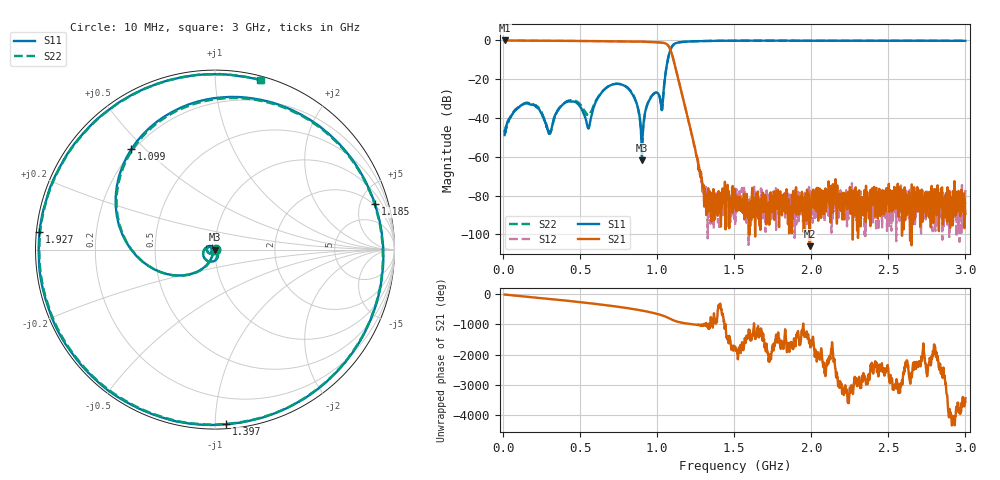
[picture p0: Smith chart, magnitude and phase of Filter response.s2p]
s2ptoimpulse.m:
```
%% ================================================================
% s2p から:
%   (1) スライドの式: S -> ABCD -> (V2/V1, V2/Vs)
%   (2) MATLAB s2tf (option 1/2)
% を重ねて「同一か？」を確認し、
% さらに 0Hz までローパス整合に埋めて実インパルス応答を作る
%
% 重要:
%  - subplot は使わない (figure を分ける)
%  - 周波数応答で「補正(=0〜f_startを生成)した箇所」を色分け
%% ================================================================

clear; close all; clc;

%% ---- User settings ----
s2pFile = "Filter response.s2p";

% Source / load impedances you want for voltage-transfer definitions
Zs = 50;     % [ohm]
Zl = 50;     % [ohm]

% Low-frequency fill model settings
Kfit      = 25;   % use first K points to estimate delay + DC trend
polyOrder = 1;    % fit log|H_de| vs f^2 near DC

% Uniform grid / IFFT settings
padFactor    = 8;         % >=1
interpMethod = "linear";  % "linear" is safest for complex data

%% ---- Load s2p ----
sp = sparameters(s2pFile);
f_meas = sp.Frequencies(:);   % [Hz]
if any(diff(f_meas) <= 0)
    error("Frequency vector must be strictly increasing.");
end

S = sp.Parameters;            % 2x2xN complex
S11 = squeeze(S(1,1,:));
S12 = squeeze(S(1,2,:));
S21 = squeeze(S(2,1,:));
S22 = squeeze(S(2,2,:));

% Reference impedance of the S-parameters (Touchstone Z0)
Z0ref = sp.Impedance;
if isscalar(Z0ref)
    Z0 = Z0ref * ones(size(f_meas));
else
    % If Z0 is frequency-dependent (rare in s2p), make it a column vector
    Z0 = Z0ref(:);
    if numel(Z0) ~= numel(f_meas)
        error("Unsupported sp.Impedance size. Expect scalar or length(f_meas).");
    end
end

f_start = f_meas(1);
fmax    = f_meas(end);

%% ================================================================
% (A) Slide formula: S -> ABCD (manual) -> voltage transfer
%     ABCD formula used (standard, same as your slide):
%     A = ((1+S11)(1-S22)+S12S21)/(2S21)
%     B = Z0((1+S11)(1+S22)-S12S21)/(2S21)
%     C = (1/Z0)((1-S11)(1-S22)-S12S21)/(2S21)
%     D = ((1-S11)(1+S22)+S12S21)/(2S21)
%% ================================================================

A = ((1+S11).*(1-S22) + (S12.*S21)) ./ (2.*S21);
B = (Z0) .* (((1+S11).*(1+S22) - (S12.*S21)) ./ (2.*S21));
C = (1./Z0) .* (((1-S11).*(1-S22) - (S12.*S21)) ./ (2.*S21));
D = ((1-S11).*(1+S22) + (S12.*S21)) ./ (2.*S21);

% Slide (DSP definition): V2/V1 = ZL/(A*ZL + B)
H_V2V1 = Zl ./ (A.*Zl + B);

% Slide (Cadence definition): V2/Vs = ZL/(A*ZL + B + C*Zs*ZL + D*Zs)
H_V2Vs = Zl ./ (A.*Zl + B + C.*Zs.*Zl + D.*Zs);

%% ================================================================
% (B) MATLAB built-ins
%% ================================================================
% s2tf options (MathWorks):
%   option=1 (default): gain from incident voltage Va -> output voltage
%   option=2           : gain from source voltage Vs -> output voltage
H_s2tf_opt1 = s2tf(sp, Zs, Zl, 1);
H_s2tf_opt2 = s2tf(sp, Zs, Zl, 2);

% ABCD check: compare manual ABCD vs MATLAB s2abcd
% s2abcd wants s_params array and z0 (scalar or vector)
try
    ABCD_mat = s2abcd(S, Z0);             % supports vector length(f_meas) in newer versions
catch
    ABCD_mat = s2abcd(S, mean(Z0));       % fallback: scalar Z0
end
A_m = squeeze(ABCD_mat(1,1,:));
B_m = squeeze(ABCD_mat(1,2,:));
C_m = squeeze(ABCD_mat(2,1,:));
D_m = squeeze(ABCD_mat(2,2,:));

% Print ABCD consistency check
fprintf("=== ABCD manual vs s2abcd check ===\n");
fprintf("max|A-A_m| = %.3e\n", max(abs(A - A_m)));
fprintf("max|B-B_m| = %.3e\n", max(abs(B - B_m)));
fprintf("max|C-C_m| = %.3e\n", max(abs(C - C_m)));
fprintf("max|D-D_m| = %.3e\n\n", max(abs(D - D_m)));

%% ================================================================
% (C) Compare transfer functions at measured frequencies (NO fill yet)
%% ================================================================
fprintf("=== Transfer function comparison (measured frequency points) ===\n");
rel = @(x,y) max(abs(x-y) ./ max(abs(y), 1e-12));
fprintf("relErr( H_V2Vs  vs s2tf option2 ) = %.3e  (期待: 小)\n", rel(H_V2Vs, H_s2tf_opt2));
fprintf("relErr( H_V2V1  vs s2tf option2 ) = %.3e  (一般に一致しない)\n", rel(H_V2V1, H_s2tf_opt2));
fprintf("relErr( H_V2V1  vs s2tf option1 ) = %.3e  (一般に一致しない)\n\n", rel(H_V2V1, H_s2tf_opt1));

% ---- Plot: magnitude (measured) ----
figure;
hold on; grid on;
plot(f_meas/1e9, 20*log10(max(abs(H_V2V1),1e-15)), 'LineWidth', 1.2, ...
    'DisplayName','ABCD: V_2/V_1 (slide DSP definition)');
plot(f_meas/1e9, 20*log10(max(abs(H_V2Vs),1e-15)), 'LineWidth', 1.2, ...
    'DisplayName','ABCD: V_2/V_s (slide Cadence definition)');
plot(f_meas/1e9, 20*log10(max(abs(H_s2tf_opt1),1e-15)), '--', 'LineWidth', 1.2, ...
    'DisplayName','s2tf option 1 (V_a \rightarrow V_L)');
plot(f_meas/1e9, 20*log10(max(abs(H_s2tf_opt2),1e-15)), '--', 'LineWidth', 1.2, ...
    'DisplayName','s2tf option 2 (V_s \rightarrow V_L)');
xlabel('f [GHz]');
ylabel('|H(f)| [dB]');
title('Transfer functions at measured frequencies');
legend('Location','best');

% ---- Plot: phase (measured) ----
figure;
hold on; grid on;
plot(f_meas/1e9, unwrap(angle(H_V2V1)), 'LineWidth', 1.2, ...
    'DisplayName','ABCD: V_2/V_1');
plot(f_meas/1e9, unwrap(angle(H_V2Vs)), 'LineWidth', 1.2, ...
    'DisplayName','ABCD: V_2/V_s');
plot(f_meas/1e9, unwrap(angle(H_s2tf_opt1)), '--', 'LineWidth', 1.2, ...
    'DisplayName','s2tf opt1');
plot(f_meas/1e9, unwrap(angle(H_s2tf_opt2)), '--', 'LineWidth', 1.2, ...
    'DisplayName','s2tf opt2');
xlabel('f [GHz]');
ylabel('Phase [rad]');
title('Phase at measured frequencies');
legend('Location','best');

%% ================================================================
% (D) Build real impulse responses:
%     - make uniform grid including DC
%     - fill 0..f_start using lowpass-consistent model
%     - create conjugate-symmetric spectrum and IFFT
%% ================================================================

[f_pos, Hpos_V2V1, idx_fill, idx_meas, t, h_V2V1, df, tau1] = ...
    buildRealImpulseFromMeasuredH(f_meas, H_V2V1, Kfit, polyOrder, padFactor, interpMethod);

[~,     Hpos_s2tf2, ~,      ~,      ~, h_s2tf2, ~,  tau2] = ...
    buildRealImpulseFromMeasuredH(f_meas, H_s2tf_opt2, Kfit, polyOrder, padFactor, interpMethod);

fprintf("=== IFFT grid info ===\n");
fprintf("f_start = %.6f GHz\n", f_start/1e9);
fprintf("df      = %.6f MHz\n", df/1e6);
fprintf("Npos    = %d  (0..%.6f GHz)\n", numel(f_pos), f_pos(end)/1e9);
fprintf("dt      = %.6f ps\n", (t(2)-t(1))*1e12);
fprintf("Estimated delay tau (V2/V1)  = %.6f ns\n", tau1*1e9);
fprintf("Estimated delay tau (s2tf2)  = %.6f ns\n\n", tau2*1e9);

%% ---- Plot magnitude with corrected region highlighted (V2/V1) ----
figure;
hold on; grid on;
plot(f_meas/1e9, 20*log10(max(abs(H_V2V1),1e-15)), '--', 'LineWidth', 1.2, ...
    'DisplayName','Measured samples (ABCD V_2/V_1)');

plot(f_pos(idx_meas)/1e9, 20*log10(max(abs(Hpos_V2V1(idx_meas)),1e-15)), '.', ...
    'DisplayName','Used from measured interpolation (f \ge f_{start})');

plot(f_pos(idx_fill)/1e9, 20*log10(max(abs(Hpos_V2V1(idx_fill)),1e-15)), '-', 'LineWidth', 1.8, ...
    'DisplayName','Filled/extrapolated (0 \le f < f_{start})');

xline(f_start/1e9, '--', 'f_{start}', 'LabelVerticalAlignment','bottom');
xlabel('f [GHz]'); ylabel('|H(f)| [dB]');
title('ABCD V_2/V_1 : magnitude (filled region highlighted)');
legend('Location','best');

%% ---- Plot phase with corrected region highlighted (V2/V1) ----
figure;
hold on; grid on;
phi_pos = unwrap(angle(Hpos_V2V1));
plot(f_pos(idx_meas)/1e9, phi_pos(idx_meas), '.', 'DisplayName','Interp region');
plot(f_pos(idx_fill)/1e9, phi_pos(idx_fill), '-', 'LineWidth', 1.8, 'DisplayName','Filled region');
xline(f_start/1e9, '--', 'f_{start}', 'LabelVerticalAlignment','bottom');
xlabel('f [GHz]'); ylabel('Phase [rad]');
title('ABCD V_2/V_1 : phase (filled region highlighted)');
legend('Location','best');

%% ---- Plot magnitude with corrected region highlighted (s2tf option2) ----
figure;
hold on; grid on;
plot(f_meas/1e9, 20*log10(max(abs(H_s2tf_opt2),1e-15)), '--', 'LineWidth', 1.2, ...
    'DisplayName','Measured samples (s2tf opt2)');

plot(f_pos(idx_meas)/1e9, 20*log10(max(abs(Hpos_s2tf2(idx_meas)),1e-15)), '.', ...
    'DisplayName','Used from measured interpolation (f \ge f_{start})');

plot(f_pos(idx_fill)/1e9, 20*log10(max(abs(Hpos_s2tf2(idx_fill)),1e-15)), '-', 'LineWidth', 1.8, ...
    'DisplayName','Filled/extrapolated (0 \le f < f_{start})');

xline(f_start/1e9, '--', 'f_{start}', 'LabelVerticalAlignment','bottom');
xlabel('f [GHz]'); ylabel('|H(f)| [dB]');
title('s2tf option2 : magnitude (filled region highlighted)');
legend('Location','best');

%% ---- Plot impulse responses (overlay) ----
figure;
hold on; grid on;
plot(t*1e9, h_V2V1, 'LineWidth', 1.2, 'DisplayName','h(t) from ABCD V_2/V_1');
plot(t*1e9, h_s2tf2, 'LineWidth', 1.2, 'DisplayName','h(t) from s2tf option2');
xlabel('t [ns]');
ylabel('h(t)');
title('Real impulse responses (conjugate-symmetric IFFT)');
legend('Location','best');

%% ================================================================
% Local function(s)
%% ================================================================

function [f_pos, H_pos, idx_fill, idx_meas, t, h, df, tau] = ...
    buildRealImpulseFromMeasuredH(f_meas, H_meas, Kfit, polyOrder, padFactor, interpMethod)

    f_meas = f_meas(:);
    H_meas = H_meas(:);

    f_start = f_meas(1);
    fmax    = f_meas(end);

    % ---- choose df (uniform grid) ----
    df = min(diff(f_meas));
    if ~isfinite(df) || df <= 0
        error("Invalid df.");
    end

    Npos = floor(fmax/df) + 1;
    f_pos = (0:(Npos-1)).' * df;

    idx_fill = (f_pos < f_start);
    idx_meas = ~idx_fill;

    % ---- interpolate measured region only (NO extrap) ----
    H_pos_interp = interp1(f_meas, H_meas, f_pos, interpMethod);

    % ---- low-frequency fill (0..f_start) ----
    K = min(Kfit, numel(f_meas));
    fK = f_meas(1:K);
    HK = H_meas(1:K);

    % (1) estimate delay tau from phase slope
    phiK = unwrap(angle(HK));
    p = polyfit(fK, phiK, 1);      % phi ≈ p(1)*f + p(2)
    tau = -p(1)/(2*pi);

    % (2) de-embed delay
    H_de_K = HK .* exp(1j*2*pi*fK*tau);

    % (3) choose DC phase = 0 or pi so H(0) is real
    phi0_est = angle(mean(H_de_K));
    phi0 = 0;
    if abs(wrapToPiLocal(phi0_est)) > (pi/2)
        phi0 = pi;
    end

    % (4) fit smooth magnitude near DC: log|H_de| vs f^2
    x = (fK.^2);
    y = log(max(abs(H_de_K), 1e-300));
    c = polyfit(x, y, polyOrder);

    % (5) synthesize fill region
    f_fill = f_pos(idx_fill);
    mag_fill = exp(polyval(c, f_fill.^2));
    H_de_fill = mag_fill .* exp(1j*phi0);
    H_fill = H_de_fill .* exp(-1j*2*pi*f_fill*tau);

    % ---- compose H_pos ----
    H_pos = zeros(size(f_pos));
    H_pos(idx_fill) = H_fill;
    H_pos(idx_meas) = H_pos_interp(idx_meas);

    % enforce DC real for real impulse
    H_pos(1) = real(H_pos(1));

    % ---- build two-sided spectrum (conjugate symmetry) ----
    Nfft_base = 2*(Npos-1);                           % even
    H_full_base = [H_pos; conj(H_pos(end-1:-1:2))];   % DC..+.. then -.. (no duplicate DC/Nyq)

    Nfft = padFactor * Nfft_base;
    nZeros = Nfft - numel(H_full_base);

    H_full = [H_full_base(1:Npos); zeros(nZeros,1); H_full_base(Npos+1:end)];

    % ---- IFFT with continuous-time scaling ----
    dt = 1/(Nfft*df);
    t  = (0:Nfft-1).' * dt;

    h = (Nfft*df) * ifft(H_full, "symmetric");
end

function x = wrapToPiLocal(x)
    x = mod((x + pi), (2*pi)) - pi;
end
```
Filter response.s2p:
!Keysight Technologies,N5242B,US58420760,A.14.80.03
!Date: Tuesday, March 01, 2022 13:26:08
!Correction: S11(C  2-Port  )
!S21(C  2-Port  )
!S12(C  2-Port  )
!S22(C  2-Port  )
!S2P File: Measurements: S11, S21, S12, S22:
# Hz S  dB  R 50
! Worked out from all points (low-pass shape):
!   1601 points, 10 MHz to 3 GHz, reference 50 ohm
!   highest |S21| = -0.04 dB at 10 MHz (marker M1); lowest = -106.1 dB at 1.989 GHz (marker M2)
!   |S21| within 3 dB of the highest: start of sweep to 1.075 GHz
!   lowest |S11| = -61.8 dB at 901.4 MHz (marker M3), VSWR 1.00, Z = 50.1 - j0.0306 ohm
!   |S11| at or under -10 dB: start of sweep to 1.069 GHz
!   |S22| runs from -54.1 to -0.2 dB; largest |S21 - S12| = 0.0071
!   S11 on the Smith chart (normalised r, x): 10 MHz: 1.01, +0.00; 1.099 GHz: 0.19, +0.45; 1.185 GHz: 1.86, +6.67; 1.397 GHz: 0.03, -1.07; 1.927 GHz: 0.01, +0.05; 3 GHz: 0.03, +1.30
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1e7  -48.85 14.1  -0.04 -5.3  -0.04 -4.9  -46.31 -16.8
3.557188e8  -36.01 -88.2  -0.23 -179.5  -0.24 -179.6  -35.83 -84.3
6.864875e8  -23.54 -99.2  -0.42 -11.1  -0.43 -11.2  -23.55 -100.6
9.013938e8  -61.80 -22.1  -0.65 -178.2  -0.65 -178.2  -54.05 -170.1
1.099481e9  -2.76 129.9  -8.19 -130.0  -8.18 -130.0  -2.80 129.0
1.185444e9  -0.66 15.9  -35.70 115.1  -35.74 115.1  -0.67 13.4
1.396612e9  -0.21 -86.3  -82.74 -23.2  -89.63 115.7  -0.24 -88.5
1.505e9  -0.16 -115.2  -86.24 71.3  -86.34 98.2  -0.19 -117.0
1.927338e9  -0.15 174.2  -81.47 122.2  -83.81 -13.9  -0.19 173.4
1.989006e9  -0.17 166.6  -106.13 153.7  -85.47 67.8  -0.19 165.9
3e9  -0.21 75.1  -89.46 149.0  -76.97 67.8  -0.20 74.9
